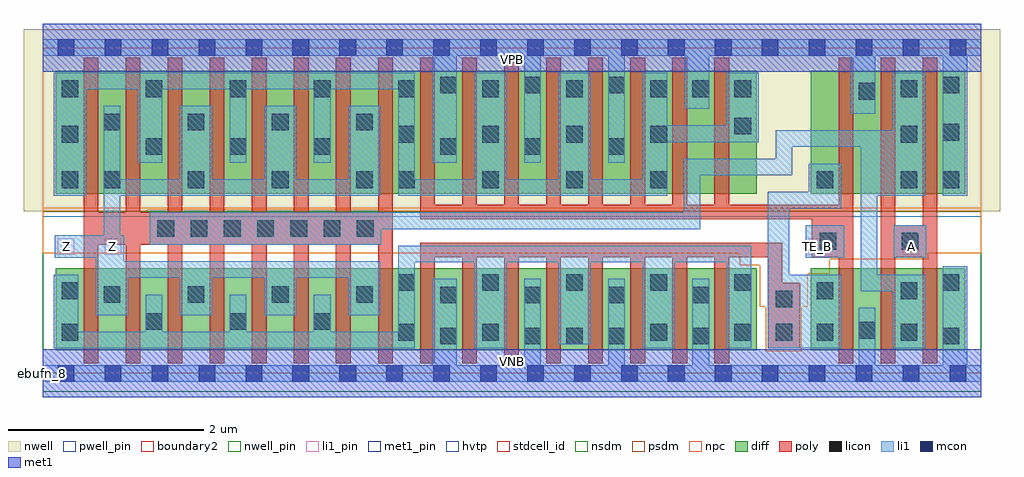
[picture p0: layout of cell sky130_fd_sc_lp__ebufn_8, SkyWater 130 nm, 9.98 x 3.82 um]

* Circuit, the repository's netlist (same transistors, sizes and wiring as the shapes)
* Copyright 2020 The SkyWater PDK Authors
*
* Licensed under the Apache License, Version 2.0 (the "License");
* you may not use this file except in compliance with the License.
* You may obtain a copy of the License at
*
*     https://www.apache.org/licenses/LICENSE-2.0
*
* Unless required by applicable law or agreed to in writing, software
* distributed under the License is distributed on an "AS IS" BASIS,
* WITHOUT WARRANTIES OR CONDITIONS OF ANY KIND, either express or implied.
* See the License for the specific language governing permissions and
* limitations under the License.
*
* SPDX-License-Identifier: Apache-2.0

.SUBCKT sky130_fd_sc_lp__ebufn_8 A TE_B VGND VNB VPB VPWR Z
*.PININFO A:I TE_B:I VGND:I VNB:I VPB:I VPWR:I Z:O
MMN0 Z net39 sndA VNB sky130_fd_pr__nfet_01v8 m=8 w=0.84U l=0.15U mult=1 sa=0.265
+ sb=0.265 sd=0.28 area=0.063 perim=1.14
MMN1 sndA net43 VGND VNB sky130_fd_pr__nfet_01v8 m=8 w=0.84U l=0.15U mult=1 sa=0.265
+ sb=0.265 sd=0.28 area=0.063 perim=1.14
MMIN1 net43 TE_B VGND VNB sky130_fd_pr__nfet_01v8 m=1 w=0.84U l=0.15U mult=1 sa=0.265
+ sb=0.265 sd=0.28 area=0.063 perim=1.14
MI6 net39 A VGND VNB sky130_fd_pr__nfet_01v8 m=2 w=0.84U l=0.15U mult=1 sa=0.265
+ sb=0.265 sd=0.28 area=0.063 perim=1.14
MMP0 VPWR TE_B sndTEB VPB sky130_fd_pr__pfet_01v8_hvt m=8 w=1.26U l=0.15U mult=1
+ sa=0.265 sb=0.265 sd=0.28 area=0.063 perim=1.14
MMP1 sndTEB net39 Z VPB sky130_fd_pr__pfet_01v8_hvt m=8 w=1.26U l=0.15U mult=1
+ sa=0.265 sb=0.265 sd=0.28 area=0.063 perim=1.14
MMIP1 net43 TE_B VPWR VPB sky130_fd_pr__pfet_01v8_hvt m=1 w=1.26U l=0.15U mult=1
+ sa=0.265 sb=0.265 sd=0.28 area=0.063 perim=1.14
MI5 net39 A VPWR VPB sky130_fd_pr__pfet_01v8_hvt m=2 w=1.26U l=0.15U mult=1 sa=0.265
+ sb=0.265 sd=0.28 area=0.063 perim=1.14
.ENDS sky130_fd_sc_lp__ebufn_8

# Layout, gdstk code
import gdstk
lib = gdstk.Library(unit=1e-6, precision=1e-09)
def R(c, l, rs):  # rectangles x0, y0, x1, y1
    for r in rs: c.add(gdstk.rectangle(r[:2], r[2:], *l))
def A(c, l, x, y, w, h, nx, ny, dx, dy):  # array of equal rectangles
    R(c, l, [(x+i*dx, y+j*dy, x+i*dx+w, y+j*dy+h) for i in range(nx) for j in range(ny)])
def P(c, l, *ps):  # polygons
    for p in ps: c.add(gdstk.Polygon(p, *l))
nwell_pin = (64, 16)
nwell = (64, 20)
diff = (65, 20)
poly = (66, 20)
licon = (66, 44)
li1_pin = (67, 16)
li1 = (67, 20)
mcon = (67, 44)
met1_pin = (68, 16)
met1 = (68, 20)
hvtp = (78, 44)
stdcell_id = (81, 4)
nsdm = (93, 44)
psdm = (94, 20)
npc = (95, 20)
pwell_pin = (122, 16)
boundary2 = (236, 0)

sky130_fd_sc_lp__ebufn_8 = lib.new_cell('sky130_fd_sc_lp__ebufn_8')
R(sky130_fd_sc_lp__ebufn_8, nwell_pin, [(0,3.085,9.6,3.33)])
R(sky130_fd_sc_lp__ebufn_8, nwell, [(-0.19,1.655,9.79,3.52)])
R(sky130_fd_sc_lp__ebufn_8, diff, [(0.135,0.235,7.305,1.075), (7.855,0.235,9.435,1.075), (0.135,1.835,7.305,3.095), (7.855,1.835,9.435,3.095)])
P(sky130_fd_sc_lp__ebufn_8, poly, [(3.58,3.225),(3.43,3.225),(3.43,1.645),(3.15,1.645),(3.15,3.225),(3,3.225),(3,1.645),(2.72,1.645),(2.72,3.225),(2.57,3.225),(2.57,1.645),(2.29,1.645),(2.29,3.225),(2.14,3.225),(2.14,1.645),(1.86,1.645),(1.86,3.225),(1.71,3.225),(1.71,1.645),(1.43,1.645),(1.43,3.225),(1.28,3.225),(1.28,1.645),(1,1.645),(1,3.225),(0.85,3.225),(0.85,1.645),(0.57,1.645),(0.57,3.225),(0.42,3.225),(0.42,0.105),(0.57,0.105),(0.57,1.315),(0.85,1.315),(0.85,0.105),(1,0.105),(1,1.315),(1.28,1.315),(1.28,0.105),(1.43,0.105),(1.43,1.315),(1.71,1.315),(1.71,0.105),(1.86,0.105),(1.86,1.315),(2.14,1.315),(2.14,0.105),(2.29,0.105),(2.29,1.315),(2.57,1.315),(2.57,0.105),(2.72,0.105),(2.72,1.315),(3,1.315),(3,0.105),(3.15,0.105),(3.15,1.315),(3.43,1.315),(3.43,0.105),(3.58,0.105)],
  [(7.745,0.925),(7.565,0.925),(7.565,1.335),(3.86,1.335),(3.86,0.105),(4.01,0.105),(4.01,1.185),(4.29,1.185),(4.29,0.105),(4.44,0.105),(4.44,1.185),(4.72,1.185),(4.72,0.105),(4.87,0.105),(4.87,1.185),(5.15,1.185),(5.15,0.105),(5.3,0.105),(5.3,1.185),(5.58,1.185),(5.58,0.105),(5.73,0.105),(5.73,1.185),(6.01,1.185),(6.01,0.105),(6.16,0.105),(6.16,1.185),(6.44,1.185),(6.44,0.105),(6.59,0.105),(6.59,1.185),(6.87,1.185),(6.87,0.105),(7.02,0.105),(7.02,1.185),(7.415,1.185),(7.415,0.255),(7.745,0.255)],
  [(8.29,3.225),(8.14,3.225),(8.14,1.725),(7.02,1.725),(7.02,3.225),(6.87,3.225),(6.87,1.725),(6.59,1.725),(6.59,3.225),(6.44,3.225),(6.44,1.725),(6.16,1.725),(6.16,3.225),(6.01,3.225),(6.01,1.725),(5.73,1.725),(5.73,3.225),(5.58,3.225),(5.58,1.725),(5.3,1.725),(5.3,3.225),(5.15,3.225),(5.15,1.725),(4.87,1.725),(4.87,3.225),(4.72,3.225),(4.72,1.725),(4.44,1.725),(4.44,3.225),(4.29,3.225),(4.29,1.725),(4.01,1.725),(4.01,3.225),(3.86,3.225),(3.86,1.575),(7.865,1.575),(7.865,1.185),(8.14,1.185),(8.14,0.105),(8.29,0.105)],
  [(9.15,3.225),(9,3.225),(9,1.515),(8.72,1.515),(8.72,3.225),(8.57,3.225),(8.57,0.105),(8.72,0.105),(8.72,1.185),(9,1.185),(9,0.105),(9.15,0.105)])
A(sky130_fd_sc_lp__ebufn_8, licon, 4.925, 0.295, 0.17, 0.17, 3, 1, 0.43, 0)
A(sky130_fd_sc_lp__ebufn_8, licon, 7.075, 0.335, 0.17, 0.17, 3, 1, 0.42, 0)
A(sky130_fd_sc_lp__ebufn_8, licon, 1.055, 0.445, 0.17, 0.17, 3, 2, 0.86, 1.79)
A(sky130_fd_sc_lp__ebufn_8, licon, 4.065, 0.715, 0.17, 0.17, 4, 1, 0.86, 0)
A(sky130_fd_sc_lp__ebufn_8, licon, 0.625, 0.72, 0.17, 0.17, 4, 2, 0.86, 1.175)
A(sky130_fd_sc_lp__ebufn_8, licon, 3.635, 0.845, 0.17, 0.17, 5, 1, 0.86, 0)
A(sky130_fd_sc_lp__ebufn_8, licon, 1.175, 1.395, 0.17, 0.17, 7, 1, 0.34, 0)
A(sky130_fd_sc_lp__ebufn_8, licon, 3.635, 1.895, 0.17, 0.17, 4, 2, 0.86, 0.465)
A(sky130_fd_sc_lp__ebufn_8, licon, 8.775, 1.895, 0.17, 0.17, 1, 3, 0, 0.465)
A(sky130_fd_sc_lp__ebufn_8, licon, 9.205, 1.895, 0.17, 0.17, 1, 3, 0, 0.485)
A(sky130_fd_sc_lp__ebufn_8, licon, 4.065, 2.235, 0.17, 0.17, 3, 2, 0.86, 0.63)
A(sky130_fd_sc_lp__ebufn_8, licon, 0.625, 2.485, 0.17, 0.17, 4, 1, 0.86, 0)
A(sky130_fd_sc_lp__ebufn_8, licon, 0.195, 2.825, 0.17, 0.17, 8, 1, 0.86, 0)
R(sky130_fd_sc_lp__ebufn_8, licon, [(4.065,0.295,4.235,0.465), (6.645,0.295,6.815,0.465), (9.205,0.295,9.375,0.465), (0.195,0.335,0.365,0.505), (3.635,0.335,3.805,0.505), (4.495,0.335,4.665,0.505), (6.215,0.335,6.385,0.505), (8.775,0.335,8.945,0.505), (8.345,0.355,8.515,0.525), (7.495,0.675,7.665,0.845), (0.195,0.76,0.365,0.93), (7.915,0.76,8.085,0.93), (8.775,0.76,8.945,0.93), (9.205,0.845,9.375,1.015), (7.945,1.265,8.115,1.435), (8.785,1.265,8.955,1.435), (0.195,1.895,0.365,2.065), (7.915,1.895,8.085,2.065), (0.195,2.36,0.365,2.53), (7.075,2.445,7.245,2.615), (8.345,2.8,8.515,2.97), (6.645,2.825,6.815,2.995), (7.075,2.825,7.245,2.995)])
R(sky130_fd_sc_lp__ebufn_8, li1_pin, [(0.155,1.21,0.325,1.38), (0.635,1.21,0.805,1.38), (7.835,1.21,8.005,1.38), (8.795,1.21,8.965,1.38)])
R(sky130_fd_sc_lp__ebufn_8, li1, [(7.805,1.18,8.195,1.515), (8.705,1.18,9.035,1.515)])
P(sky130_fd_sc_lp__ebufn_8, li1, [(5.785,2.155),(5.785,3.245),(5.095,3.245),(5.095,2.155),(4.925,2.155),(4.925,3.245),(4.235,3.245),(4.235,2.155),(3.985,2.155),(3.985,3.245),(0,3.245),(0,3.415),(9.6,3.415),(9.6,3.245),(9.455,3.245),(9.455,1.815),(9.205,1.815),(9.205,3.245),(8.515,3.245),(8.515,2.655),(8.265,2.655),(8.265,3.245),(6.815,3.245),(6.815,2.705),(6.565,2.705),(6.565,3.245),(5.955,3.245),(5.955,2.155)],
  [(4.925,0.085),(4.925,0.965),(5.095,0.965),(5.095,0.085),(5.785,0.085),(5.785,0.965),(5.955,0.965),(5.955,0.085),(6.645,0.085),(6.645,0.965),(6.815,0.965),(6.815,0.085),(8.345,0.085),(8.345,0.67),(8.515,0.67),(8.515,0.085),(9.205,0.085),(9.205,1.095),(9.455,1.095),(9.455,0.085),(9.6,0.085),(9.6,-0.085),(0,-0.085),(0,0.085),(3.985,0.085),(3.985,0.965),(4.235,0.965),(4.235,0.085)],
  [(0.125,1.18),(0.125,1.41),(0.625,1.41),(0.625,2.735),(0.795,2.735),(0.795,1.985),(1.405,1.985),(1.405,2.735),(1.735,2.735),(1.735,1.985),(2.265,1.985),(2.265,2.735),(2.595,2.735),(2.595,1.985),(3.125,1.985),(3.125,2.735),(3.455,2.735),(3.455,1.815),(0.795,1.815),(0.795,1.41),(0.835,1.41),(0.835,1.145),(3.455,1.145),(3.455,0.595),(3.125,0.595),(3.125,0.975),(2.595,0.975),(2.595,0.595),(2.265,0.595),(2.265,0.975),(1.735,0.975),(1.735,0.595),(1.405,0.595),(1.405,0.975),(0.875,0.975),(0.875,0.595),(0.545,0.595),(0.545,1.18)],
  [(7.415,1.855),(7.835,1.855),(7.835,2.145),(8.165,2.145),(8.165,1.685),(7.635,1.685),(7.635,1.01),(8.165,1.01),(8.165,0.255),(7.415,0.255)],
  [(4.415,0.255),(4.415,1.135),(3.805,1.135),(3.805,0.255),(0.115,0.255),(0.115,1.01),(0.365,1.01),(0.365,0.425),(1.055,0.425),(1.055,0.805),(1.225,0.805),(1.225,0.425),(1.915,0.425),(1.915,0.805),(2.085,0.805),(2.085,0.425),(2.775,0.425),(2.775,0.805),(2.945,0.805),(2.945,0.425),(3.635,0.425),(3.635,1.305),(7.245,1.305),(7.245,0.255),(6.995,0.255),(6.995,1.135),(6.465,1.135),(6.465,0.255),(6.135,0.255),(6.135,1.135),(5.605,1.135),(5.605,0.295),(5.275,0.295),(5.275,1.135),(4.745,1.135),(4.745,0.255)],
  [(4.415,1.985),(4.415,3.075),(4.745,3.075),(4.745,1.985),(5.275,1.985),(5.275,3.075),(5.605,3.075),(5.605,1.985),(6.135,1.985),(6.135,3.075),(6.385,3.075),(6.385,2.535),(6.995,2.535),(6.995,3.075),(7.325,3.075),(7.325,2.365),(6.385,2.365),(6.385,1.815),(3.635,1.815),(3.635,2.905),(2.945,2.905),(2.945,2.155),(2.775,2.155),(2.775,2.905),(2.085,2.905),(2.085,2.155),(1.915,2.155),(1.915,2.905),(1.225,2.905),(1.225,2.155),(0.975,2.155),(0.975,2.905),(0.445,2.905),(0.445,1.815),(0.115,1.815),(0.115,3.075),(3.805,3.075),(3.805,1.985)],
  [(8.695,2.485),(8.695,3.075),(9.025,3.075),(9.025,1.815),(8.535,1.815),(8.535,1.01),(9.025,1.01),(9.025,0.255),(8.695,0.255),(8.695,0.84),(8.365,0.84),(8.365,2.315),(7.665,2.315),(7.665,2.025),(6.725,2.025),(6.725,1.475),(3.465,1.475),(3.465,1.315),(1.095,1.315),(1.095,1.645),(6.555,1.645),(6.555,2.195),(7.495,2.195),(7.495,2.485)])
A(sky130_fd_sc_lp__ebufn_8, mcon, 0.155, -0.085, 0.17, 0.17, 20, 2, 0.48, 3.33)
R(sky130_fd_sc_lp__ebufn_8, met1_pin, [(0,0,9.6,0.245), (0,3.085,9.6,3.33)])
R(sky130_fd_sc_lp__ebufn_8, met1, [(0,-0.245,9.6,0.245), (0,3.085,9.6,3.575)])
R(sky130_fd_sc_lp__ebufn_8, hvtp, [(0,1.6,9.6,3.33)])
R(sky130_fd_sc_lp__ebufn_8, stdcell_id, [(0,0,9.6,3.33)])
R(sky130_fd_sc_lp__ebufn_8, nsdm, [(0,-0.19,9.6,1.655)])
P(sky130_fd_sc_lp__ebufn_8, psdm, [(9.6,3.52),(0,3.52),(0,1.655),(1.065,1.655),(1.065,1.675),(3.495,1.675),(3.495,1.655),(9.6,1.655)])
P(sky130_fd_sc_lp__ebufn_8, npc, [(9.6,1.695),(0,1.695),(0,1.23),(7.13,1.23),(7.13,1.105),(7.335,1.105),(7.335,0.68),(7.395,0.68),(7.395,0.225),(7.765,0.225),(7.765,0.68),(7.825,0.68),(7.825,1.02),(8.05,1.02),(8.05,1.165),(9.055,1.165),(9.055,1.23),(9.6,1.23)])
R(sky130_fd_sc_lp__ebufn_8, pwell_pin, [(0,0,9.6,0.245)])
R(sky130_fd_sc_lp__ebufn_8, boundary2, [(0,0,9.6,3.33)])
sky130_fd_sc_lp__ebufn_8.add(gdstk.Label('VNB', (4.8,0.123), layer=64, texttype=59))
sky130_fd_sc_lp__ebufn_8.add(gdstk.Label('VPB', (4.8,3.208), layer=64, texttype=5))
sky130_fd_sc_lp__ebufn_8.add(gdstk.Label('ebufn_8', (0,0), layer=83, texttype=44))
sky130_fd_sc_lp__ebufn_8.add(gdstk.Label('VPWR', (4.8,3.208), layer=68, texttype=5))
sky130_fd_sc_lp__ebufn_8.add(gdstk.Label('VGND', (4.8,0.123), layer=68, texttype=5))
sky130_fd_sc_lp__ebufn_8.add(gdstk.Label('TE_B', (7.92,1.295), layer=67, texttype=5))
sky130_fd_sc_lp__ebufn_8.add(gdstk.Label('A', (8.88,1.295), layer=67, texttype=5))
sky130_fd_sc_lp__ebufn_8.add(gdstk.Label('Z', (0.24,1.295), layer=67, texttype=5))
sky130_fd_sc_lp__ebufn_8.add(gdstk.Label('Z', (0.72,1.295), layer=67, texttype=5))

lib.write_gds('sky130_fd_sc_lp__ebufn_8.gds')
